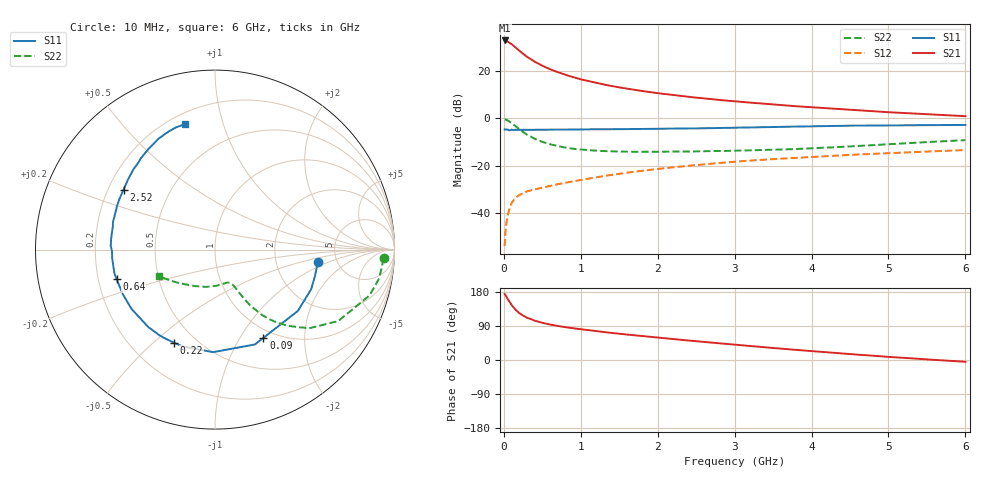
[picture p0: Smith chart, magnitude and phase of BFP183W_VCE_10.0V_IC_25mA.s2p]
! Infineon Technologies  Discrete & RF Semiconductors
! BFP183W
! VCE = 10.0V,  IC =  25 mA
! Common Emitter S-Parameters:  Jan 2016
# GHz  S  MA  R  50
!  f  S11  S21  S12  S22
! GHz  MAG  ANG  MAG  ANG  MAG  ANG  MAG  ANG
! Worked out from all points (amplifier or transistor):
!   210 points, 10 MHz to 6 GHz, reference 50 ohm
!   highest |S21| = 32.7 dB at 10 MHz (marker M1)
!   |S21| within 3 dB of that: start of sweep to 153.4 MHz
!   unconditionally stable (mu >= 1): 956.8 MHz to 5.314 GHz
!   at 185 MHz: K = 0.36, MSG = 30.8 dB, |S12| = -32.8 dB
!   at 1.52 GHz: K = 1.10, MAG = 16.1 dB, |S12| = -23.3 dB
!   at 6 GHz: K = 0.97, MSG = 7.1 dB, |S12| = -13.5 dB
!   S11 on the Smith chart (normalised r, x): 10 MHz: 3.55, -0.76; 90 MHz: 0.89, -1.27; 220 MHz: 0.38, -0.58; 640 MHz: 0.28, -0.13; 2.52 GHz: 0.26, +0.28; 6 GHz: 0.26, +0.75
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0.01  0.5769 -7.1  43.39 174.2  0.002 74.5  0.9403 -3.0
0.03  0.5795 -22.4  42.73 168.0  0.0056 77.7  0.9279 -10.0
0.05  0.5745 -36.5  41.24 160.6  0.0089 73.6  0.8983 -16.5
0.09  0.5607 -61.2  37.12 148.5  0.0146 63.5  0.8107 -27.1
0.1  0.5735 -67.2  36.39 145.1  0.0161 62.1  0.7937 -30.1
0.15  0.5715 -91.1  31.06 132.6  0.0209 55.2  0.6822 -40.0
0.2  0.5689 -108.7  26.34 123.6  0.0238 50.9  0.5855 -46.5
0.22  0.5662 -113.7  24.83 121.2  0.0248 49.6  0.5548 -48.2
0.26  0.5689 -123.1  22.06 116.0  0.0268 47.6  0.4977 -51.7
0.3  0.5695 -130.7  19.65 111.6  0.0285 46.7  0.4501 -54.2
0.4  0.5706 -144.6  15.48 103.8  0.0313 46.2  0.3675 -57.8
0.5  0.5705 -154.0  12.71 98.0  0.0342 47.1  0.3155 -59.5
0.64  0.5722 -163.5  10.16 92.2  0.0385 48.8  0.2713 -60.8
0.8  0.574 -171.5  8.174 86.6  0.0435 51.2  0.2395 -62.0
1.02  0.5751 -179.7  6.468 80.6  0.0505 52.9  0.2167 -63.5
1.4  0.5823 169.9  4.754 71.5  0.0635 54.7  0.2001 -67.1
2.02  0.5974 156.2  3.331 58.8  0.0857 54.6  0.1953 -76.0
2.52  0.6088 146.7  2.686 49.2  0.1034 52.5  0.1998 -85.0
3.1  0.6333 136.8  2.191 38.8  0.1237 49.4  0.2077 -97.2
4.1  0.6756 122.2  1.656 22.0  0.1556 43.1  0.2351 -120.9
5.1  0.7072 111.1  1.307 7.0  0.1855 36.4  0.2876 -141.4
6  0.7187 103.5  1.1 -4.8  0.2122 31.0  0.3436 -154.2
